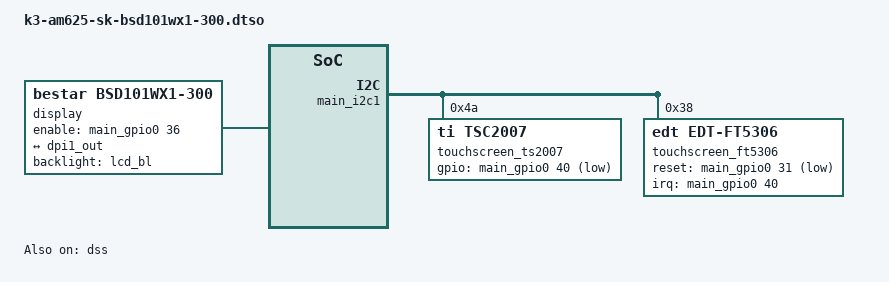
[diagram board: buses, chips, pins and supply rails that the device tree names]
// SPDX-License-Identifier: GPL-2.0-or-later OR MIT
/*
 * Bestar BSD101WX1-300 panel + touch overlay for AM625 SK / CX-AM62x.
 *
 * ===== CRZ CHANGED (4th revision): DPI panel on VP2 + touch =====
 * This 10.1" 1280x800 touchscreen connects via the 60-pin RGB FPCB (CX
 * schematic sheet 4 "LCD I/F (RGB)", J5): 24-bit parallel RGB from
 * VOUT0_DATA0..23 plus the touch lines. It is NOT on the LVDS connector
 * (J6); board proof: the working 6.1 system exposes it as "DPI-1".
 * dss_ports port@1 is VP2 = DPI out (the base k3-am625-sk.dts deletes the
 * SK HDMI consumer of this port, so the overlay re-creates it).
 *
 * Faithfully ported from the old 6.1 overlay (decompiled from the working
 * eMMC system):
 *  - enable-gpios GPIO0_36 = LCD_PWREN (panel power, NOT backlight-enable)
 *  - capacitive touch: edt-ft5306 on main_i2c1 @0x38,
 *      INT  = GPMC0_WPn  pad 0x0a4 -> GPIO0_40 (TS_INT_N)
 *      RST  = GPMC0_CLK  pad 0x07c -> GPIO0_31 (TS_RST_N)
 *      (the base dts removes the SK-only vdd_sd_dv regulator that vanilla
 *       puts on pad 0x07c)
 *  - resistive touch: tsc2007 on main_i2c1 @0x4a (declared like the old
 *    overlay; probes away cleanly when not fitted)
 * Timings come from the panel-simple "bestar,bsd101wx1-300" descriptor.
 */

/dts-v1/;
/plugin/;

#include <dt-bindings/gpio/gpio.h>
#include <dt-bindings/interrupt-controller/irq.h>

#include "k3-pinctrl.h"

&{/} {
	display {
		compatible = "bestar,bsd101wx1-300", "panel-simple";
		backlight = <&lcd_bl>;
		enable-gpios = <&main_gpio0 36 GPIO_ACTIVE_HIGH>;	/* LCD_PWREN */

		port {
			lcd_in0: endpoint {
				remote-endpoint = <&dpi1_out>;
			};
		};
	};
};

&dss {
	status = "okay";
};

&dss_ports {
	#address-cells = <1>;
	#size-cells = <0>;

	port@1 {
		reg = <1>;
		dpi1_out: endpoint {
			remote-endpoint = <&lcd_in0>;
		};
	};
};

&main_pmx0 {
	mango_ts_pins_default: mango-ts-default-pins {
		pinctrl-single,pins = <
			AM62X_IOPAD(0x0a4, PIN_INPUT, 7)  /* (N20) GPMC0_WPn.GPIO0_40  TS_INT_N */
			AM62X_IOPAD(0x07c, PIN_OUTPUT, 7) /* (P25) GPMC0_CLK.GPIO0_31  TS_RST_N */
		>;
	};
};

&main_i2c1 {
	#address-cells = <1>;
	#size-cells = <0>;

	touchscreen_ts2007: tsc2007@4a {
		compatible = "ti,tsc2007";
		reg = <0x4a>;
		gpios = <&main_gpio0 40 GPIO_ACTIVE_LOW>;
		ti,x-plate-ohms = <660>;
		linux,wakeup;
	};

	touchscreen_ft5306: edt-ft5306@38 {
		status = "okay";
		compatible = "edt,edt-ft5306", "edt,edt-ft5x06";
		pinctrl-names = "default";
		pinctrl-0 = <&mango_ts_pins_default>;
		reg = <0x38>;
		interrupt-parent = <&main_gpio0>;
		interrupts = <40 IRQ_TYPE_EDGE_FALLING>;
		reset-gpios = <&main_gpio0 31 GPIO_ACTIVE_LOW>;
		touchscreen-size-x = <1280>;
		touchscreen-size-y = <800>;
		wakeup-source;
	};
};
